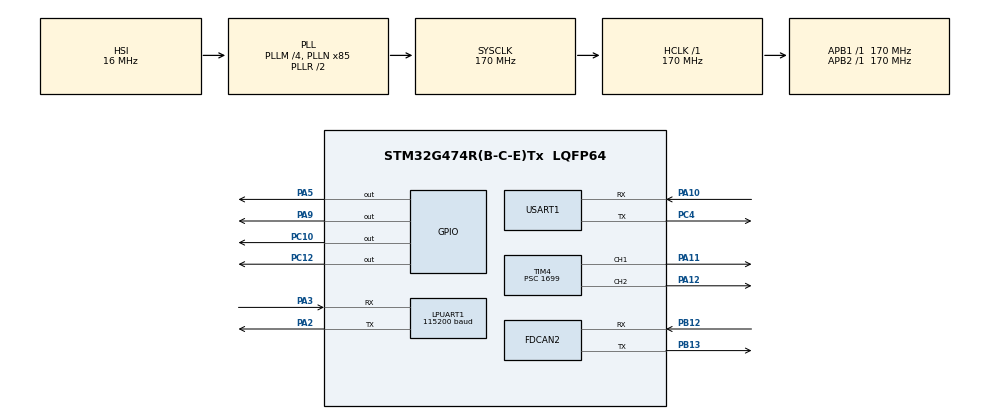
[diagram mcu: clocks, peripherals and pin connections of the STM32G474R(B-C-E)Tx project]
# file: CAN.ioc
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FDCAN2.AutoRetransmission=ENABLE
FDCAN2.CalculateBaudRateNominal=999999
FDCAN2.CalculateTimeBitNominal=1000
FDCAN2.CalculateTimeQuantumNominal=5.882352941176471
FDCAN2.DataSyncJumpWidth=11
FDCAN2.DataTimeSeg1=22
FDCAN2.DataTimeSeg2=11
FDCAN2.FrameFormat=FDCAN_FRAME_FD_BRS
FDCAN2.NominalPrescaler=1
FDCAN2.NominalSyncJumpWidth=57
FDCAN2.NominalTimeSeg1=112
FDCAN2.NominalTimeSeg2=57
FREERTOS.Events01=myEvent01,Dynamic,NULL
FREERTOS.Mutexes01=query_mux,Dynamic,NULL,Available
FREERTOS.Tasks01=cq_task,32,256,CMD_Q,Default,NULL,Dynamic,NULL,NULL;sm_task,24,128,State_machine,Default,NULL,Dynamic,NULL,NULL;uart_task,40,128,UART_commands,Default,NULL,Dynamic,NULL,NULL
FREERTOS.configUSE_NEWLIB_REENTRANT=1
LPUART1.BaudRate=115200
Mcu.Family=STM32G4
Mcu.Name=STM32G474R(B-C-E)Tx
Mcu.Package=LQFP64
NVIC.FDCAN2_IT0_IRQn=true\:5\:0\:false\:false\:true\:true\:true\:true\:true
NVIC.LPUART1_IRQn=true\:5\:0\:false\:false\:true\:true\:true\:true\:true
NVIC.PriorityGroup=NVIC_PRIORITYGROUP_4
NVIC.TIM4_IRQn=true\:5\:0\:false\:false\:true\:true\:true\:true\:true
NVIC.TIM6_DAC_IRQn=true\:15\:0\:false\:false\:true\:false\:false\:true\:true
NVIC.TimeBase=TIM6_DAC_IRQn
NVIC.TimeBaseIP=TIM6
NVIC.USART1_IRQn=true\:5\:0\:false\:false\:true\:true\:true\:true\:true
PA10.Mode=Asynchronous
PA10.Signal=USART1_RX
PA11.Signal=S_TIM4_CH1
PA12.Signal=S_TIM4_CH2
PA13.Mode=Trace_Asynchronous_SW
PA13.Signal=SYS_JTMS-SWDIO
PA14.Mode=Trace_Asynchronous_SW
PA14.Signal=SYS_JTCK-SWCLK
PA2.Mode=Asynchronous
PA2.Signal=LPUART1_TX
PA3.Mode=Asynchronous
PA3.Signal=LPUART1_RX
PA5.Signal=GPIO_Output
PA9.Signal=GPIO_Output
PB12.Mode=FDCAN_Activate
PB12.Signal=FDCAN2_RX
PB13.Mode=FDCAN_Activate
PB13.Signal=FDCAN2_TX
PB3.Mode=Trace_Asynchronous_SW
PB3.Signal=SYS_JTDO-SWO
PC10.GPIO_ModeDefaultOutputPP=GPIO_MODE_OUTPUT_OD
PC10.GPIO_PuPd=GPIO_NOPULL
PC10.PinState=GPIO_PIN_SET
PC10.Signal=GPIO_Output
PC12.GPIO_ModeDefaultOutputPP=GPIO_MODE_OUTPUT_OD
PC12.GPIO_PuPd=GPIO_NOPULL
PC12.PinState=GPIO_PIN_SET
PC12.Signal=GPIO_Output
PC4.Mode=Asynchronous
PC4.Signal=USART1_TX
PF0-OSC_IN.Mode=HSE-External-Oscillator
PF0-OSC_IN.Signal=RCC_OSC_IN
PF1-OSC_OUT.Mode=HSE-External-Oscillator
PF1-OSC_OUT.Signal=RCC_OSC_OUT
ProjectManager.HeapSize=0x200
ProjectManager.StackSize=0x400
ProjectManager.TargetToolchain=STM32CubeIDE
RCC.ADC12Freq_Value=170000000
RCC.ADC345Freq_Value=170000000
RCC.AHBFreq_Value=170000000
RCC.APB1Freq_Value=170000000
RCC.APB1TimFreq_Value=170000000
RCC.APB2Freq_Value=170000000
RCC.APB2TimFreq_Value=170000000
RCC.CortexFreq_Value=170000000
RCC.EXTERNAL_CLOCK_VALUE=12288000
RCC.FDCANCLockSelection=RCC_FDCANCLKSOURCE_PLL
RCC.HCLKFreq_Value=170000000
RCC.HSE_VALUE=8000000
RCC.HSI48_VALUE=48000000
RCC.HSI_VALUE=16000000
RCC.LSE_VALUE=32768
RCC.PLLM=RCC_PLLM_DIV4
RCC.PLLN=85
RCC.SYSCLKFreq_VALUE=170000000
RCC.SYSCLKSource=RCC_SYSCLKSOURCE_PLLCLK
RCC.USBFreq_Value=170000000
RCC.VCOOutputFreq_Value=340000000
SH.S_TIM4_CH1.0=TIM4_CH1,Output Compare1 CH1
SH.S_TIM4_CH2.0=TIM4_CH2,Output Compare2 CH2
TIM2.PeriodNoDither=1200000000
TIM2.Prescaler=84
TIM4.Channel-Output\ Compare1\ CH1=TIM_CHANNEL_1
TIM4.Channel-Output\ Compare2\ CH2=TIM_CHANNEL_2
TIM4.OCMode_1=TIM_OCMODE_ACTIVE
TIM4.OCMode_2=TIM_OCMODE_ACTIVE
TIM4.Prescaler=1699
TIM4.PulseNoDither_1=500
TIM4.PulseNoDither_2=4000
USART1.VirtualMode-Asynchronous=VM_ASYNC
VP_FREERTOS_VS_CMSIS_V2.Mode=CMSIS_V2
VP_SYS_VS_DBSignals.Mode=DisableDeadBatterySignals
VP_SYS_VS_tim6.Mode=TIM6
VP_TIM2_VS_ClockSourceINT.Mode=Internal
VP_TIM4_VS_ClockSourceINT.Mode=Internal
board=custom

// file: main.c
/* USER CODE BEGIN Header */
/**
  ******************************************************************************
  * @file           : main.c
  * @brief          : Main program body
  ******************************************************************************
  * @attention
  *
  * Copyright (c) 2026 STMicroelectronics.
  * All rights reserved.
  *
  * This software is licensed under terms that can be found in the LICENSE file
  * in the root directory of this software component.
  * If no LICENSE file comes with this software, it is provided AS-IS.
  *
  ******************************************************************************
  */
/* USER CODE END Header */
#include "main.h"
#include "cmsis_os.h"

FDCAN_HandleTypeDef hfdcan2;

UART_HandleTypeDef hlpuart1;
UART_HandleTypeDef huart1;

TIM_HandleTypeDef htim2;
TIM_HandleTypeDef htim4;

/* Definitions for cq_task */
osThreadId_t cq_taskHandle;
const osThreadAttr_t cq_task_attributes = {
  .name = "cq_task",
  .priority = (osPriority_t) osPriorityAboveNormal,
  .stack_size = 256 * 4
};
/* Definitions for sm_task */
osThreadId_t sm_taskHandle;
const osThreadAttr_t sm_task_attributes = {
  .name = "sm_task",
  .priority = (osPriority_t) osPriorityNormal,
  .stack_size = 128 * 4
};
/* Definitions for uart_task */
osThreadId_t uart_taskHandle;
const osThreadAttr_t uart_task_attributes = {
  .name = "uart_task",
  .priority = (osPriority_t) osPriorityHigh,
  .stack_size = 128 * 4
};
/* Definitions for query_mux */
osMutexId_t query_muxHandle;
const osMutexAttr_t query_mux_attributes = {
  .name = "query_mux"
};
/* Definitions for myEvent01 */
osEventFlagsId_t myEvent01Handle;
const osEventFlagsAttr_t myEvent01_attributes = {
  .name = "myEvent01"
};
/* USER CODE BEGIN PV */

#define RX_BUF_SIZE 64
char HLPUART1_rxBuffer[RX_BUF_SIZE];
volatile uint8_t HUART1_rxBuffer;
volatile uint8_t uart_rx_index = 0;
volatile uint8_t rx_index = 0;
volatile uint8_t command_ready = 0;
volatile uint8_t stopped = 0;
volatile uint8_t uart1_ready = 0;

uint8_t rx_data_SERIAL;
uint8_t rx_data_ESP;

float target_position;
static moteus_motor_t* motor;
const moteus_result_t* r = NULL;
volatile float cmd_timestamp_ms = 0;
moteus_position_cmd_t cmd = MOTEUS_STARTUP_SEQ_CMD;

/* USER CODE END PV */

void SystemClock_Config(void);
static void MX_GPIO_Init(void);
static void MX_LPUART1_UART_Init(void);
static void MX_USART1_UART_Init(void);
static void MX_TIM2_Init(void);
static void MX_FDCAN2_Init(void);
static void MX_TIM4_Init(void);
void CMD_Q(void *argument);
void State_machine(void *argument);
void UART_commands(void *argument);

/* USER CODE BEGIN 0 */

int __io_putchar(int ch)
{
 ITM_SendChar(ch);
 return(ch);
}

int _write(int32_t file, uint8_t *ptr, int32_t len)
{
	for (int i = 0; i < len; i++)
    {
        ITM_SendChar(*ptr++);
    }
    return len;
}
/* USER CODE END 0 */

int main(void)
{

  /* MCU Configuration--------------------------------------------------------*/

  /* Reset of all peripherals, Initializes the Flash interface and the Systick. */
  HAL_Init();

  /* Configure the system clock */
  SystemClock_Config();

  /* Initialize all configured peripherals */
  MX_GPIO_Init();
  MX_LPUART1_UART_Init();
  MX_USART1_UART_Init();
  MX_TIM2_Init();
  MX_FDCAN2_Init();
  MX_TIM4_Init();
  /* USER CODE BEGIN 2 */

  // turn on relay, PC12
  HAL_Delay(5000);
  HAL_GPIO_WritePin(GPIOC, GPIO_PIN_12, GPIO_PIN_RESET);
  // pull STBY LOW, PA9
  HAL_GPIO_WritePin(GPIOA, GPIO_PIN_9, GPIO_PIN_RESET);

  if (HAL_FDCAN_ConfigTxDelayCompensation(&hfdcan2, (hfdcan2.Init.DataPrescaler * hfdcan2.Init.DataTimeSeg1), 0U) != HAL_OK)
  {
    Error_Handler();
  }

  if (HAL_FDCAN_EnableTxDelayCompensation(&hfdcan2) != HAL_OK)
  {
    Error_Handler();
  }

  motor_init();

  HAL_UART_Receive_IT(&hlpuart1,&rx_data_SERIAL,1);
  HAL_UART_Receive_IT(&huart1, (uint8_t *)&rx_data_ESP, 1);

  cmd.position = 0.0f;  // or whatever your home/default position is
  HAL_TIM_Base_Start_IT(&htim2);

  /* USER CODE END 2 */

  /* Init scheduler */
  osKernelInitialize();
  /* Create the mutex(es) */
  /* creation of query_mux */
  query_muxHandle = osMutexNew(&query_mux_attributes);

  /* Create the thread(s) */
  /* creation of cq_task */
  cq_taskHandle = osThreadNew(CMD_Q, NULL, &cq_task_attributes);

  /* creation of sm_task */
  sm_taskHandle = osThreadNew(State_machine, NULL, &sm_task_attributes);

  /* creation of uart_task */
  uart_taskHandle = osThreadNew(UART_commands, NULL, &uart_task_attributes);

  /* creation of myEvent01 */
  myEvent01Handle = osEventFlagsNew(&myEvent01_attributes);

  /* Start scheduler */
  osKernelStart();

  /* We should never get here as control is now taken by the scheduler */

  /* Infinite loop */
  while (1)
  {

  }
}

void SystemClock_Config(void)
{
  RCC_OscInitTypeDef RCC_OscInitStruct = {0};
  RCC_ClkInitTypeDef RCC_ClkInitStruct = {0};

  /** Configure the main internal regulator output voltage
  */
  HAL_PWREx_ControlVoltageScaling(PWR_REGULATOR_VOLTAGE_SCALE1_BOOST);

  /** Initializes the RCC Oscillators according to the specified parameters
  * in the RCC_OscInitTypeDef structure.
  */
  RCC_OscInitStruct.OscillatorType = RCC_OSCILLATORTYPE_HSI;
  RCC_OscInitStruct.HSIState = RCC_HSI_ON;
  RCC_OscInitStruct.HSICalibrationValue = RCC_HSICALIBRATION_DEFAULT;
  RCC_OscInitStruct.PLL.PLLState = RCC_PLL_ON;
  RCC_OscInitStruct.PLL.PLLSource = RCC_PLLSOURCE_HSI;
  RCC_OscInitStruct.PLL.PLLM = RCC_PLLM_DIV4;
  RCC_OscInitStruct.PLL.PLLN = 85;
  RCC_OscInitStruct.PLL.PLLP = RCC_PLLP_DIV2;
  RCC_OscInitStruct.PLL.PLLQ = RCC_PLLQ_DIV2;
  RCC_OscInitStruct.PLL.PLLR = RCC_PLLR_DIV2;
  if (HAL_RCC_OscConfig(&RCC_OscInitStruct) != HAL_OK)
  {
    Error_Handler();
  }

  /** Initializes the CPU, AHB and APB buses clocks
  */
  RCC_ClkInitStruct.ClockType = RCC_CLOCKTYPE_HCLK|RCC_CLOCKTYPE_SYSCLK
                              |RCC_CLOCKTYPE_PCLK1|RCC_CLOCKTYPE_PCLK2;
  RCC_ClkInitStruct.SYSCLKSource = RCC_SYSCLKSOURCE_PLLCLK;
  RCC_ClkInitStruct.AHBCLKDivider = RCC_SYSCLK_DIV1;
  RCC_ClkInitStruct.APB1CLKDivider = RCC_HCLK_DIV1;
  RCC_ClkInitStruct.APB2CLKDivider = RCC_HCLK_DIV1;

  if (HAL_RCC_ClockConfig(&RCC_ClkInitStruct, FLASH_LATENCY_4) != HAL_OK)
  {
    Error_Handler();
  }
}

static void MX_FDCAN2_Init(void)
{

  hfdcan2.Instance = FDCAN2;
  hfdcan2.Init.ClockDivider = FDCAN_CLOCK_DIV1;
  hfdcan2.Init.FrameFormat = FDCAN_FRAME_FD_BRS;
  hfdcan2.Init.Mode = FDCAN_MODE_NORMAL;
  hfdcan2.Init.AutoRetransmission = ENABLE;
  hfdcan2.Init.TransmitPause = DISABLE;
  hfdcan2.Init.ProtocolException = DISABLE;
  hfdcan2.Init.NominalPrescaler = 1;
  hfdcan2.Init.NominalSyncJumpWidth = 57;
  hfdcan2.Init.NominalTimeSeg1 = 112;
  hfdcan2.Init.NominalTimeSeg2 = 57;
  hfdcan2.Init.DataPrescaler = 1;
  hfdcan2.Init.DataSyncJumpWidth = 11;
  hfdcan2.Init.DataTimeSeg1 = 22;
  hfdcan2.Init.DataTimeSeg2 = 11;
  hfdcan2.Init.StdFiltersNbr = 0;
  hfdcan2.Init.ExtFiltersNbr = 0;
  hfdcan2.Init.TxFifoQueueMode = FDCAN_TX_FIFO_OPERATION;
  if (HAL_FDCAN_Init(&hfdcan2) != HAL_OK)
  {
    Error_Handler();
  }

}

static void MX_LPUART1_UART_Init(void)
{

  hlpuart1.Instance = LPUART1;
  hlpuart1.Init.BaudRate = 115200;
  hlpuart1.Init.WordLength = UART_WORDLENGTH_8B;
  hlpuart1.Init.StopBits = UART_STOPBITS_1;
  hlpuart1.Init.Parity = UART_PARITY_NONE;
  hlpuart1.Init.Mode = UART_MODE_TX_RX;
  hlpuart1.Init.HwFlowCtl = UART_HWCONTROL_NONE;
  hlpuart1.Init.OneBitSampling = UART_ONE_BIT_SAMPLE_DISABLE;
  hlpuart1.Init.ClockPrescaler = UART_PRESCALER_DIV1;
  hlpuart1.AdvancedInit.AdvFeatureInit = UART_ADVFEATURE_NO_INIT;
  if (HAL_UART_Init(&hlpuart1) != HAL_OK)
  {
    Error_Handler();
  }
  if (HAL_UARTEx_SetTxFifoThreshold(&hlpuart1, UART_TXFIFO_THRESHOLD_1_8) != HAL_OK)
  {
    Error_Handler();
  }
  if (HAL_UARTEx_SetRxFifoThreshold(&hlpuart1, UART_RXFIFO_THRESHOLD_1_8) != HAL_OK)
  {
    Error_Handler();
  }
  if (HAL_UARTEx_DisableFifoMode(&hlpuart1) != HAL_OK)
  {
    Error_Handler();
  }

}

static void MX_USART1_UART_Init(void)
{

  huart1.Instance = USART1;
  huart1.Init.BaudRate = 115200;
  huart1.Init.WordLength = UART_WORDLENGTH_8B;
  huart1.Init.StopBits = UART_STOPBITS_1;
  huart1.Init.Parity = UART_PARITY_NONE;
  huart1.Init.Mode = UART_MODE_TX_RX;
  huart1.Init.HwFlowCtl = UART_HWCONTROL_NONE;
  huart1.Init.OverSampling = UART_OVERSAMPLING_16;
  huart1.Init.OneBitSampling = UART_ONE_BIT_SAMPLE_DISABLE;
  huart1.Init.ClockPrescaler = UART_PRESCALER_DIV1;
  huart1.AdvancedInit.AdvFeatureInit = UART_ADVFEATURE_NO_INIT;
  if (HAL_UART_Init(&huart1) != HAL_OK)
  {
    Error_Handler();
  }
  if (HAL_UARTEx_SetTxFifoThreshold(&huart1, UART_TXFIFO_THRESHOLD_1_8) != HAL_OK)
  {
    Error_Handler();
  }
  if (HAL_UARTEx_SetRxFifoThreshold(&huart1, UART_RXFIFO_THRESHOLD_1_8) != HAL_OK)
  {
    Error_Handler();
  }
  if (HAL_UARTEx_DisableFifoMode(&huart1) != HAL_OK)
  {
    Error_Handler();
  }

}

static void MX_TIM2_Init(void)
{

  TIM_ClockConfigTypeDef sClockSourceConfig = {0};
  TIM_MasterConfigTypeDef sMasterConfig = {0};

  htim2.Instance = TIM2;
  htim2.Init.Prescaler = 84;
  htim2.Init.CounterMode = TIM_COUNTERMODE_UP;
  htim2.Init.Period = 1200000000;
  htim2.Init.ClockDivision = TIM_CLOCKDIVISION_DIV1;
  htim2.Init.AutoReloadPreload = TIM_AUTORELOAD_PRELOAD_DISABLE;
  if (HAL_TIM_Base_Init(&htim2) != HAL_OK)
  {
    Error_Handler();
  }
  sClockSourceConfig.ClockSource = TIM_CLOCKSOURCE_INTERNAL;
  if (HAL_TIM_ConfigClockSource(&htim2, &sClockSourceConfig) != HAL_OK)
  {
    Error_Handler();
  }
  sMasterConfig.MasterOutputTrigger = TIM_TRGO_RESET;
  sMasterConfig.MasterSlaveMode = TIM_MASTERSLAVEMODE_DISABLE;
  if (HAL_TIMEx_MasterConfigSynchronization(&htim2, &sMasterConfig) != HAL_OK)
  {
    Error_Handler();
  }

}

static void MX_TIM4_Init(void)
{

  TIM_ClockConfigTypeDef sClockSourceConfig = {0};
  TIM_MasterConfigTypeDef sMasterConfig = {0};
  TIM_OC_InitTypeDef sConfigOC = {0};

  htim4.Instance = TIM4;
  htim4.Init.Prescaler = 1699;
  htim4.Init.CounterMode = TIM_COUNTERMODE_UP;
  htim4.Init.Period = 65535;
  htim4.Init.ClockDivision = TIM_CLOCKDIVISION_DIV1;
  htim4.Init.AutoReloadPreload = TIM_AUTORELOAD_PRELOAD_DISABLE;
  if (HAL_TIM_Base_Init(&htim4) != HAL_OK)
  {
    Error_Handler();
  }
  sClockSourceConfig.ClockSource = TIM_CLOCKSOURCE_INTERNAL;
  if (HAL_TIM_ConfigClockSource(&htim4, &sClockSourceConfig) != HAL_OK)
  {
    Error_Handler();
  }
  if (HAL_TIM_OC_Init(&htim4) != HAL_OK)
  {
    Error_Handler();
  }
  sMasterConfig.MasterOutputTrigger = TIM_TRGO_RESET;
  sMasterConfig.MasterSlaveMode = TIM_MASTERSLAVEMODE_DISABLE;
  if (HAL_TIMEx_MasterConfigSynchronization(&htim4, &sMasterConfig) != HAL_OK)
  {
    Error_Handler();
  }
  sConfigOC.OCMode = TIM_OCMODE_ACTIVE;
  sConfigOC.Pulse = 500;
  sConfigOC.OCPolarity = TIM_OCPOLARITY_HIGH;
  sConfigOC.OCFastMode = TIM_OCFAST_DISABLE;
  if (HAL_TIM_OC_ConfigChannel(&htim4, &sConfigOC, TIM_CHANNEL_1) != HAL_OK)
  {
    Error_Handler();
  }
  sConfigOC.Pulse = 4000;
  if (HAL_TIM_OC_ConfigChannel(&htim4, &sConfigOC, TIM_CHANNEL_2) != HAL_OK)
  {
    Error_Handler();
  }
  HAL_TIM_MspPostInit(&htim4);

}

static void MX_GPIO_Init(void)
{
  GPIO_InitTypeDef GPIO_InitStruct = {0};

  /* GPIO Ports Clock Enable */
  __HAL_RCC_GPIOF_CLK_ENABLE();
  __HAL_RCC_GPIOA_CLK_ENABLE();
  __HAL_RCC_GPIOC_CLK_ENABLE();
  __HAL_RCC_GPIOB_CLK_ENABLE();

  /*Configure GPIO pin Output Level */
  HAL_GPIO_WritePin(GPIOA, GPIO_PIN_5|GPIO_PIN_9, GPIO_PIN_RESET);

  /*Configure GPIO pin Output Level */
  HAL_GPIO_WritePin(GPIOC, GPIO_PIN_10|GPIO_PIN_12, GPIO_PIN_SET);

  /*Configure GPIO pins : PA5 PA9 */
  GPIO_InitStruct.Pin = GPIO_PIN_5|GPIO_PIN_9;
  GPIO_InitStruct.Mode = GPIO_MODE_OUTPUT_PP;
  GPIO_InitStruct.Pull = GPIO_NOPULL;
  GPIO_InitStruct.Speed = GPIO_SPEED_FREQ_LOW;
  HAL_GPIO_Init(GPIOA, &GPIO_InitStruct);

  /*Configure GPIO pins : PC10 PC12 */
  GPIO_InitStruct.Pin = GPIO_PIN_10|GPIO_PIN_12;
  GPIO_InitStruct.Mode = GPIO_MODE_OUTPUT_OD;
  GPIO_InitStruct.Pull = GPIO_NOPULL;
  GPIO_InitStruct.Speed = GPIO_SPEED_FREQ_LOW;
  HAL_GPIO_Init(GPIOC, &GPIO_InitStruct);

}

/* USER CODE BEGIN 4 */

void HAL_UART_RxCpltCallback(UART_HandleTypeDef *huart)
{
    if (huart->Instance == LPUART1)
    {

        if (rx_data_SERIAL == '\r' || rx_data_SERIAL == '\n')
        {
        	char crlf[] = "\r\n";
        	HAL_UART_Transmit(huart,(uint8_t*)crlf,2,10);
            if (rx_index > 0)
            {
            	HLPUART1_rxBuffer[rx_index] = '\0';
                command_ready = 1;
                osEventFlagsSet(myEvent01Handle, UART_EVENT);

            }

            rx_index = 0;
        }
        else if (rx_index < (RX_BUF_SIZE - 1))
        {
            HAL_UART_Transmit(huart,(uint8_t*)&rx_data_SERIAL,1,10);
            HLPUART1_rxBuffer[rx_index++] = rx_data_SERIAL;
        }
        else
        {
            // Buffer overflow protection
            rx_index = 0;
        }

        HAL_UART_Receive_IT(huart, (uint8_t *)&rx_data_SERIAL, 1);

    }

	else if (huart->Instance == USART1)
		{
//			char msg [10];
//			sprintf(msg, "%02X\r\n", rx_data_ESP);
//			HAL_UART_Transmit(&hlpuart1,(uint8_t*)msg,strlen(msg),10);
			HUART1_rxBuffer = rx_data_ESP;
			uart1_ready = 1;
			HAL_UART_Receive_IT(huart, (uint8_t *)&rx_data_ESP, 1);
            osEventFlagsSet(myEvent01Handle, UART_EVENT);

		}
}

void HAL_TIM_OC_DelayElapsedCallback(TIM_HandleTypeDef *htim)
{
	if (htim==&htim4)
	{
	    if(htim->Channel == HAL_TIM_ACTIVE_CHANNEL_1) {
	        // Ch1 interrupt (5ms)
		  osEventFlagsSet(myEvent01Handle, CQ_EVENT);
		  TIM4->CCR1 += 500;

	    }
	    if(htim->Channel == HAL_TIM_ACTIVE_CHANNEL_2) {
	        // Ch2 interrupt (40ms)
		  osEventFlagsSet(myEvent01Handle, SM_EVENT);
		  TIM4->CCR2 += 4000;

	    }
	}
}

void HAL_FDCAN_RxFifo0Callback(FDCAN_HandleTypeDef *hfdcan, uint32_t RxFifo0ITs)
{
    (void)RxFifo0ITs;
    moteus_fdcan_rx_callback(hfdcan);

}

void print_motor_state(float command_motor_position)
{

    if (r) {
        printf("%.3f ms,%s, %.3f rev, %.3f rev, %.3f rev/s, %.3f Nm, %.1f V, %.1f C, %.1f A, %.1f A\r\n", \
        		cmd_timestamp_ms,moteus_mode_str(r->mode),command_motor_position, r->position, r->velocity ,r->torque,r->voltage,r->temperature, r->q_current, r->d_current );
//        printf("Mode: %s\r\n", moteus_mode_str(r->mode));
//        printf("Position: %.3f rev\r\n", r->position);
//        printf("Velocity: %.3f rev/s\r\n", r->velocity);
//        printf("Torque: %.3f Nm\r\n", r->torque);
//        printf("Voltage: %.1f V\r\n", r->voltage);
//        printf("Temperature: %.1f C\r\n", r->temperature);

//        if (r->fault != MOTEUS_FAULT_NONE) {
//            printf("FAULT: %s\r\n", moteus_fault_str(r->fault));
//        }
//    } else {
//        printf("Query failed: %s\r\n", moteus_error_str(motor->last_error));
//    }
    }
}

void motor_init(void)
{
    // Initialize CAN peripheral
    moteus_can_init(&hfdcan2);

    // Create motor instance (ID 1)
    motor = moteus_init(&hfdcan2, 2);
    if (!motor) {
    	char failed_msg[]="Failed to initialize motor\r\n";
    	HAL_UART_Transmit(&hlpuart1,(uint8_t*)failed_msg,sizeof(failed_msg),10);
        return;
    }

    else
    {
    	char sucess_msg[]="Motor Initialised!\r\n";
    	HAL_UART_Transmit(&hlpuart1,(uint8_t*)sucess_msg,sizeof(sucess_msg),10);
    }

    // Optional: reduce timeout for faster failure detection
    motor->timeout_ms = 50;
}

void motor_stop(void)
{
    const moteus_result_t* r = moteus_set_stop(motor);
    if (r){
  	  printf("Motor stopped\r\n");
    }

}

//void print_motor_state(void)
//{
//    char buf[64];
//    int len;
//    const moteus_result_t* r = moteus_set_query(motor);
//
//    if (r) {
//        len = snprintf(buf, sizeof(buf), "Mode: %s\r\n", moteus_mode_str(r->mode));
//        HAL_UART_Transmit(&hlpuart1, (uint8_t*)buf, len, HAL_MAX_DELAY);
//
//        len = snprintf(buf, sizeof(buf), "Position: %.3f rev\r\n", r->position);
//        HAL_UART_Transmit(&hlpuart1, (uint8_t*)buf, len, HAL_MAX_DELAY);
//
//        len = snprintf(buf, sizeof(buf), "Velocity: %.3f rev/s\r\n", r->velocity);
//        HAL_UART_Transmit(&hlpuart1, (uint8_t*)buf, len, HAL_MAX_DELAY);
//
//        len = snprintf(buf, sizeof(buf), "Torque: %.3f Nm\r\n", r->torque);
//        HAL_UART_Transmit(&hlpuart1, (uint8_t*)buf, len, HAL_MAX_DELAY);
//
//        len = snprintf(buf, sizeof(buf), "Voltage: %.1f V\r\n", r->voltage);
//        HAL_UART_Transmit(&hlpuart1, (uint8_t*)buf, len, HAL_MAX_DELAY);
//
//        len = snprintf(buf, sizeof(buf), "Temperature: %.1f C\r\n", r->temperature);
//        HAL_UART_Transmit(&hlpuart1, (uint8_t*)buf, len, HAL_MAX_DELAY);
//
//        if (r->fault != MOTEUS_FAULT_NONE) {
//            len = snprintf(buf, sizeof(buf), "FAULT: %s\r\n", moteus_fault_str(r->fault));
//            HAL_UART_Transmit(&hlpuart1, (uint8_t*)buf, len, HAL_MAX_DELAY);
//        }
//    } else {
//        len = snprintf(buf, sizeof(buf), "Query failed: %s\r\n", moteus_error_str(motor->last_error));
//        HAL_UART_Transmit(&hlpuart1, (uint8_t*)buf, len, HAL_MAX_DELAY);
//    }
//}

/* USER CODE END 4 */

void CMD_Q(void *argument)
{
  /* USER CODE BEGIN 5 */
  /* Infinite loop */
	for(;;)
	{
		osEventFlagsWait(myEvent01Handle, CQ_EVENT, osFlagsWaitAll, osWaitForever);
		if (!stopped) {
	              osMutexAcquire(query_muxHandle, osWaitForever);
				  moteus_begin_position(motor, &cmd);
				  r = moteus_set_query(motor);

				  cmd_timestamp_ms = get_timestamp_raw() / (2*1e3);
				  print_motor_state(cmd.position);
	      	      osMutexRelease(query_muxHandle);

		}
	}
  /* USER CODE END 5 */
}

void State_machine(void *argument)
{
  /* USER CODE BEGIN State_machine */
  /* Infinite loop */

	for(;;)
	{
		osEventFlagsWait(myEvent01Handle, SM_EVENT, osFlagsWaitAll, osWaitForever);
        osMutexAcquire(query_muxHandle, osWaitForever);
        if (r != NULL) {
            float torque = r->torque;
            if (torque > 2.0f) {
                HAL_GPIO_WritePin(GPIOC, GPIO_PIN_10, GPIO_PIN_RESET);
            } else {
                HAL_GPIO_WritePin(GPIOC, GPIO_PIN_10, GPIO_PIN_SET);
            }
        }
        osMutexRelease(query_muxHandle);

	}
  /* USER CODE END State_machine */
}

void UART_commands(void *argument)
{
  /* USER CODE BEGIN UART_commands */
  /* Infinite loop */

  for(;;)
  {
	  osEventFlagsWait(myEvent01Handle, UART_EVENT, osFlagsWaitAll, osWaitForever);
	  if (command_ready)
	  {
	      command_ready = 0;
	      char *endptr;

	      // Add this: if user sends "stop", clear fault
	      if (strncmp(HLPUART1_rxBuffer, "STOP", 4) == 0)
	      {
	    	  motor_stop();
	          stopped = 1;

	          HAL_UART_Transmit(&hlpuart1, (uint8_t*)"Motor stopped\r\n", 15, 100);
	          HAL_GPIO_WritePin(GPIOC, GPIO_PIN_12, GPIO_PIN_SET);
              HAL_GPIO_WritePin(GPIOA, GPIO_PIN_5, GPIO_PIN_RESET);

	          HAL_TIM_OC_Stop_IT(&htim4, TIM_CHANNEL_1);
	          HAL_TIM_OC_Stop_IT(&htim4, TIM_CHANNEL_2);
	      }

	      else if (strncmp(HLPUART1_rxBuffer, "START", 5) == 0)
	      {
	          HAL_GPIO_WritePin(GPIOC, GPIO_PIN_12, GPIO_PIN_RESET);
	          osMutexAcquire(query_muxHandle, osWaitForever);
              cmd.position = 0.0;
      	      osMutexRelease(query_muxHandle);

              HAL_TIM_OC_Start_IT(&htim4, TIM_CHANNEL_1);
              HAL_TIM_OC_Start_IT(&htim4, TIM_CHANNEL_2);
              HAL_GPIO_WritePin(GPIOA, GPIO_PIN_5, GPIO_PIN_SET);

              stopped = 0;
	      }
	      else
	      {
	          float position = strtof(HLPUART1_rxBuffer, &endptr);
	          if (endptr == HLPUART1_rxBuffer) {
	              HAL_UART_Transmit(&hlpuart1, (uint8_t*)"Invalid parameters\r\n", 20, 100);
	          } else {
		          HAL_GPIO_WritePin(GPIOC, GPIO_PIN_12, GPIO_PIN_RESET);

		          osMutexAcquire(query_muxHandle, osWaitForever);
	              cmd.position = position;
	      	      osMutexRelease(query_muxHandle);

	              stopped = 0;
	          }
	      }
	      memset(HLPUART1_rxBuffer, 0, RX_BUF_SIZE);
	  }

	  else if (uart1_ready)
	  {
		  uart1_ready = 0;
		  if (HUART1_rxBuffer == 0x01)
		  {
	          motor_stop();
	          stopped = 1;

	          HAL_UART_Transmit(&hlpuart1, (uint8_t*)"Motor stopped\r\n", 15, 100);
	          HAL_GPIO_WritePin(GPIOC, GPIO_PIN_12, GPIO_PIN_SET);
              HAL_GPIO_WritePin(GPIOA, GPIO_PIN_5, GPIO_PIN_RESET);

	          HAL_TIM_OC_Stop_IT(&htim4, TIM_CHANNEL_1);
	          HAL_TIM_OC_Stop_IT(&htim4, TIM_CHANNEL_2);
		  }
		  else if (HUART1_rxBuffer == 0x02)
		  {
	          HAL_GPIO_WritePin(GPIOC, GPIO_PIN_12, GPIO_PIN_RESET);
	          osMutexAcquire(query_muxHandle, osWaitForever);
              cmd.position = 0.0;
      	      osMutexRelease(query_muxHandle);

              HAL_TIM_OC_Start_IT(&htim4, TIM_CHANNEL_1);
              HAL_TIM_OC_Start_IT(&htim4, TIM_CHANNEL_2);
              HAL_GPIO_WritePin(GPIOA, GPIO_PIN_5, GPIO_PIN_SET);

              stopped = 0;
		  }
		  HUART1_rxBuffer = 0;

	  }
  }
  /* USER CODE END UART_commands */
}

void HAL_TIM_PeriodElapsedCallback(TIM_HandleTypeDef *htim)
{
  if (htim->Instance == TIM6)
  {
    HAL_IncTick();
  }
}

void Error_Handler(void)
{
  __disable_irq();
  while (1)
  {
  }
}
